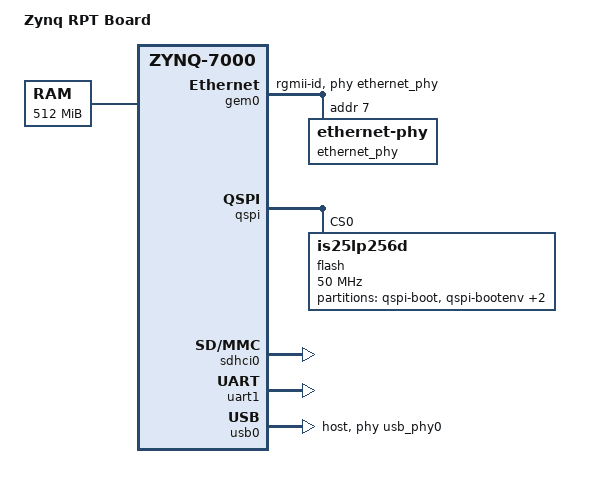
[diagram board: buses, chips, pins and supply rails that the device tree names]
// SPDX-License-Identifier: GPL-2.0+
/*
 *  Copyright (C) 2011 - 2015 Xilinx
 *  Copyright (C) 2012 National Instruments Corp.
 */
/dts-v1/;
#include "zynq-7000.dtsi"

/ {
	model = "Zynq RPT Board";
	compatible = "xlnx,zynq-7000";

	aliases {
		ethernet0 = &gem0;
		i2c0 = &i2c0;
		serial0 = &uart1;
		spi0 = &qspi;
		mmc0 = &sdhci0;
		usb0 = &usb0;
	};

	memory@0 {
		device_type = "memory";
		reg = <0x0 0x20000000>;
	};

	chosen {
		bootargs = "";
		stdout-path = "serial0:115200n8";
	};

	usb_phy0: phy0@e0002000 {
		compatible = "ulpi-phy";
		#phy-cells = <0>;
		reg = <0xe0002000 0x1000>;
		view-port = <0x0170>;
		drv-vbus;
	};
};

&amba {
	ocm: sram@fffc0000 {
		compatible = "mmio-sram";
		reg = <0xfffc0000 0x10000>;
	};
};

&clkc {
	ps-clk-frequency = <33333333>;
};

&gem0 {
	status = "okay";
	phy-mode = "rgmii-id";
	phy-handle = <&ethernet_phy>;
	phy-reset-active-low;

	ethernet_phy: ethernet-phy@7 {
		reg = <7>;
		device_type = "ethernet-phy";
	};
};

&qspi {
	u-boot,dm-pre-reloc;
	status = "okay";
	is-dual = <0>;
	num-cs = <1>;
	flash@0 {
		compatible = "is25lp256d";
		reg = <0x0>;
		spi-tx-bus-width = <1>;
		spi-rx-bus-width = <4>;
		spi-max-frequency = <50000000>;
		#address-cells = <1>;
		#size-cells = <1>;
		partition@qspi-boot {
			label = "qspi-boot";
			reg = <0x0 0x3E0000>;
		};
		partition@qspi-bootenv {
			label = "qspi-bootenv";
			reg = <0x3E0000 0x20000>;
		};
		partition@qspi-linux {
			label = "qspi-linux";
			reg = <0x400000 0x1400000>;
		};
		partition@qspi-rootfs {
			label = "qspi-rootfs";
			reg = <0x1800000 0x800000>;
		};
	};
};

&sdhci0 {
	u-boot,dm-pre-reloc;
	status = "okay";
};

&uart1 {
	u-boot,dm-pre-reloc;
	status = "okay";
};

&usb0 {
	status = "okay";
	dr_mode = "host";
	usb-phy = <&usb_phy0>;
};
